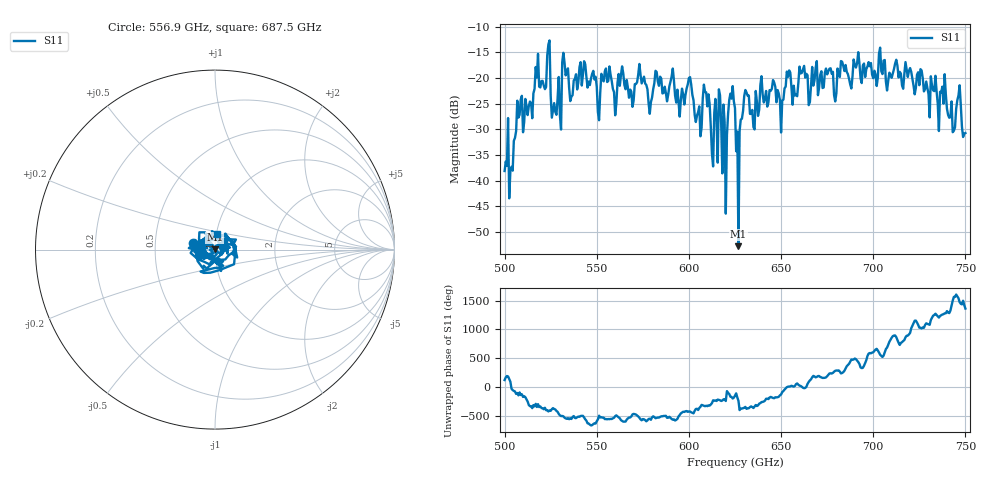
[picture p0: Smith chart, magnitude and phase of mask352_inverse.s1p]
!Created with skrf (http://scikit-rf.org).
# GHz S MA R 50.0
!freq magS11 angS11
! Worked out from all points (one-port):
!   401 points, 500 GHz to 750 GHz, reference 50 ohm
!   lowest |S11| = -52.7 dB at 626.9 GHz (marker M1), VSWR 1.00, Z = 49.9 + j0.196 ohm
!   |S11| at or under -10 dB: start of sweep to end of sweep
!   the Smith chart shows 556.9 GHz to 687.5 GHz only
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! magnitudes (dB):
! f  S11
! 500 GHz  -38.1
! 503.8 GHz  -37.3
! 508.1 GHz  -27.2
! 513.8 GHz  -24.6
! 516.9 GHz  -17.9
! 523.8 GHz  -13.5
! 526.9 GHz  -24.9
! 531.2 GHz  -16.9
! 562.5 GHz  -21.5
! 593.8 GHz  -22.3
! 600 GHz  -20.0
! 605.6 GHz  -25.5
! 609.4 GHz  -22.8
! 612.5 GHz  -34.8
! 617.5 GHz  -28.9
! 619.4 GHz  -28.7
! 622.5 GHz  -23.0
! 625 GHz  -25.9
! 626.9 GHz  -52.7
! 631.2 GHz  -22.8
! 634.4 GHz  -26.2
! 656.2 GHz  -25.2
! 687.5 GHz  -21.2
! 718.8 GHz  -19.8
! 738.1 GHz  -25.0
! 743.1 GHz  -30.6
! 746.2 GHz  -23.4
! 750 GHz  -30.7
